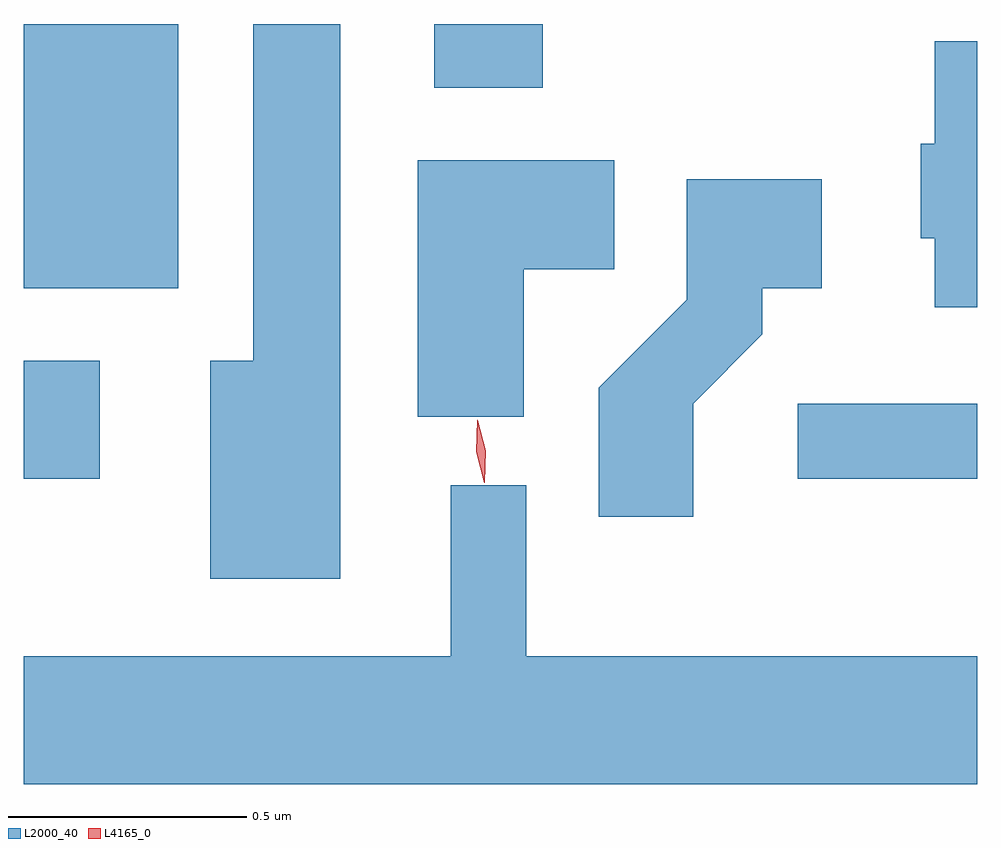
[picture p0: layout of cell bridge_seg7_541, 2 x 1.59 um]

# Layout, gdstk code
import gdstk
lib = gdstk.Library(unit=1e-6, precision=1e-09)
def R(c, l, rs):  # rectangles x0, y0, x1, y1
    for r in rs: c.add(gdstk.rectangle(r[:2], r[2:], *l))
def P(c, l, *ps):  # polygons
    for p in ps: c.add(gdstk.Polygon(p, *l))
L2000_40 = (2000, 40)
L4165_0 = (4165, 0)

bridge_seg7_541 = lib.new_cell('bridge_seg7_541')
R(bridge_seg7_541, L2000_40, [(831.25,1770.456,831.409,1770.704), (832.873,1770.456,833.25,1770.614), (831.25,1770.856,831.574,1771.409), (832.111,1771.276,832.339,1771.41)])
P(bridge_seg7_541, L2000_40, [(831.914,1771.41),(831.731,1771.41),(831.731,1770.704),(831.641,1770.704),(831.641,1770.246),(831.914,1770.246)],
  [(833.25,1771.374),(833.161,1771.374),(833.161,1771.159),(833.131,1771.159),(833.131,1770.961),(833.161,1770.961),(833.161,1770.816),(833.25,1770.816)],
  [(832.299,1770.896),(832.489,1770.896),(832.489,1771.124),(832.076,1771.124),(832.076,1770.586),(832.299,1770.586)],
  [(832.654,1770.614),(832.799,1770.759),(832.799,1770.856),(832.924,1770.856),(832.924,1771.084),(832.641,1771.084),(832.641,1770.832),(832.456,1770.647),(832.456,1770.376),(832.654,1770.376)],
  [(833.25,1770.084),(832.304,1770.084),(832.304,1770.443),(832.146,1770.443),(832.146,1770.084),(831.25,1770.084),(831.25,1769.816),(833.25,1769.816)])
P(bridge_seg7_541, L4165_0, [(832.216,1770.448),(832.216,1770.448),(832.199,1770.513),(832.201,1770.579),(832.201,1770.58),(832.202,1770.579),(832.219,1770.515),(832.217,1770.448)])

lib.write_gds('bridge_seg7_541.gds')
